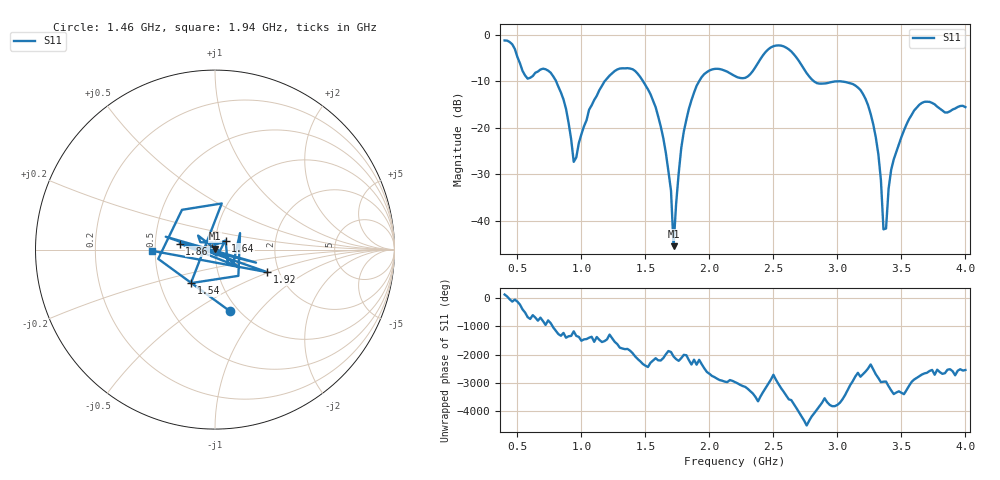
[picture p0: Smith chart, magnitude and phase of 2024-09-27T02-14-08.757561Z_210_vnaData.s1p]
!Created with skrf (http://scikit-rf.org).
# Hz S RI R 50.0
!freq ReS11 ImS11
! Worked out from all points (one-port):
!   181 points, 400 MHz to 4 GHz, reference 50 ohm
!   lowest |S11| = -45.4 dB at 1.72 GHz (marker M1), VSWR 1.01, Z = 49.9 + j0.533 ohm
!   |S11| at or under -10 dB: 802.9 MHz to 1.181 GHz (377.7 MHz wide, 38.1 % of centre); 1.483 GHz to 1.919 GHz (436.3 MHz wide, 25.7 % of centre); 3.031 GHz to end of sweep (the widest 3 of 4)
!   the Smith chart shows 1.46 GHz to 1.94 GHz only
!   S11 on the Smith chart (normalised r, x): 1.46 GHz: 0.91, -0.72; 1.54 GHz: 0.72, -0.28; 1.64 GHz: 1.12, +0.11; 1.86 GHz: 0.67, +0.05; 1.92 GHz: 1.74, -0.49; 1.94 GHz: 0.48, -0.01
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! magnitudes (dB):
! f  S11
! 400 MHz  -1.2
! 580 MHz  -9.4
! 740 MHz  -7.7
! 860 MHz  -13.9
! 940 MHz  -27.3
! 1.06 GHz  -16.1
! 1.3 GHz  -7.2
! 1.46 GHz  -9.1
! 1.54 GHz  -12.8
! 1.64 GHz  -22.2
! 1.7 GHz  -33.5
! 1.72 GHz  -45.4
! 1.76 GHz  -29.8
! 1.86 GHz  -14.0
! 1.92 GHz  -9.9
! 1.94 GHz  -9.1
! 2.2 GHz  -8.9
! 2.5 GHz  -2.4
! 2.66 GHz  -4.2
! 2.84 GHz  -10.4
! 3.1 GHz  -10.4
! 3.28 GHz  -19.2
! 3.34 GHz  -31.2
! 3.36 GHz  -41.8
! 3.38 GHz  -41.6
! 3.42 GHz  -29.0
! 3.56 GHz  -18.1
! 4 GHz  -15.5
